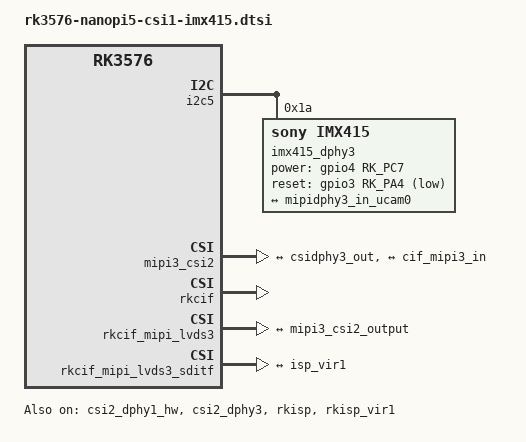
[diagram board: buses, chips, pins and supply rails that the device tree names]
// SPDX-License-Identifier: (GPL-2.0+ OR MIT)
/*
 * Copyright (c) 2025 FriendlyElec Computer Tech. Co., Ltd.
 * (http://www.friendlyelec.com)
 */

&csi2_dphy1_hw {
	status = "okay";
};

&csi2_dphy3 {
	status = "okay";

	ports {
		#address-cells = <1>;
		#size-cells = <0>;

		port@0 {
			reg = <0>;
			#address-cells = <1>;
			#size-cells = <0>;

			mipidphy3_in_ucam0: endpoint@1 {
				reg = <1>;
				remote-endpoint = <&imx415_out1>;
				data-lanes = <1 2 3 4>;
			};
		};

		port@1 {
			reg = <1>;
			#address-cells = <1>;
			#size-cells = <0>;

			csidphy3_out: endpoint@0 {
				reg = <0>;
				remote-endpoint = <&mipi3_csi2_input>;
			};
		};
	};
};

&i2c5 {
	status = "okay";
	pinctrl-names = "default";
	pinctrl-0 = <&i2c5m3_xfer>;

	imx415_dphy3: imx415@1a {
		compatible = "sony,imx415";
		reg = <0x1a>;
		clocks = <&cru CLK_MIPI_CAMERAOUT_M2>;
		clock-names = "xvclk";
		pinctrl-names = "default";
		pinctrl-0 = <&cam_clk2m0_clk2>;
		power-domains = <&power RK3576_PD_VI>;
		power-gpios = <&gpio4 RK_PC7 GPIO_ACTIVE_HIGH>;
		reset-gpios = <&gpio3 RK_PA4 GPIO_ACTIVE_LOW>;
		rockchip,camera-module-index = <1>;
		rockchip,camera-module-facing = "back";
		rockchip,camera-module-name = "CMK-OT2022-PX1";
		rockchip,camera-module-lens-name = "IR0147-50IRC-8M-F20";

		port {
			imx415_out1: endpoint {
				remote-endpoint = <&mipidphy3_in_ucam0>;
				data-lanes = <1 2 3 4>;
			};
		};
	};
};

&mipi3_csi2 {
	status = "okay";

	ports {
		#address-cells = <1>;
		#size-cells = <0>;

		port@0 {
			reg = <0>;
			#address-cells = <1>;
			#size-cells = <0>;

			mipi3_csi2_input: endpoint@1 {
				reg = <1>;
				remote-endpoint = <&csidphy3_out>;
			};
		};

		port@1 {
			reg = <1>;
			#address-cells = <1>;
			#size-cells = <0>;

			mipi3_csi2_output: endpoint@0 {
				reg = <0>;
				remote-endpoint = <&cif_mipi3_in>;
			};
		};
	};
};

&rkcif {
	status = "okay";
};

&rkcif_mipi_lvds3 {
	status = "okay";

	port {
		cif_mipi3_in: endpoint {
			remote-endpoint = <&mipi3_csi2_output>;
		};
	};
};

&rkcif_mipi_lvds3_sditf {
	status = "okay";

	port {
		mipi_lvds3_sditf: endpoint {
			remote-endpoint = <&isp_vir1>;
		};
	};
};

&rkcif_mmu {
	status = "okay";
};

&rkisp {
	status = "okay";
};

&rkisp_mmu {
	status = "okay";
};

&rkisp_vir1 {
	status = "okay";

	port {
		#address-cells = <1>;
		#size-cells = <0>;

		isp_vir1: endpoint@0 {
			reg = <0>;
			remote-endpoint = <&mipi_lvds3_sditf>;
		};
	};
};
